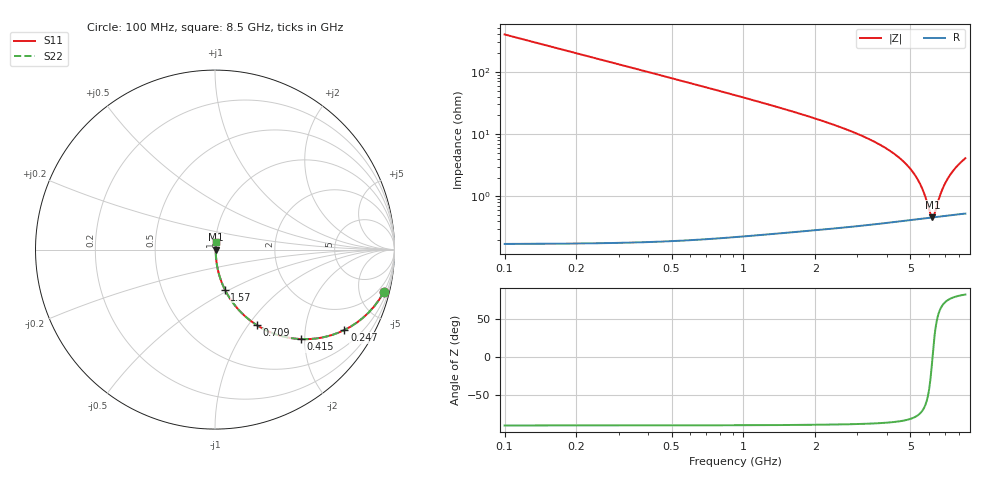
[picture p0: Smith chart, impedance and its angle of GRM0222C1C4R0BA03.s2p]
!Murata Part Number: GRM0222C1C4R0BA03
!These Parameters are Measured in Series Mode Connection
!Data Generated on Mar 30, 2021
!  o--ll--o
!Port1  Port2
!  o------o
!Operation Temp=25[degC], DC Bias Voltage=0[V]
!Freq. Start=100[MHz] Stop=9[GHz] 401[Steps]
# Hz S RI R 50
!Freq.(Hz) S11(Real) S11(Imag) S21(Real) S21(Imag) S12(Real) S12(Imag) S22(Real) S22(Imag)
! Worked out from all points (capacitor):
!   401 points, 100 MHz to 8.5 GHz, reference 50 ohm
!   read as one part in series: C = 4 pF near 142 MHz
!   lowest |Z| = 459 mohm at 6.19 GHz (marker M1)
!   series resonance near 6.19 GHz, so ESL is about 170 pH
!   S11 on the Smith chart (normalised r, x): 100 MHz: 1.00, -7.96; 247 MHz: 1.00, -3.22; 415 MHz: 1.00, -1.91; 709 MHz: 1.00, -1.11; 1.57 GHz: 1.01, -0.47; 8.5 GHz: 1.01, +0.08
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1e8  0.9405 -0.2364  0.0595 0.2364  0.0595 0.2364  0.9405 -0.2364
1.84e8  0.8233 -0.381  0.1767 0.381  0.1767 0.381  0.8233 -0.381
2.47e8  0.7209 -0.448  0.2791 0.448  0.2791 0.448  0.7209 -0.448
3.31e8  0.5893 -0.4912  0.4107 0.4912  0.4107 0.4912  0.5893 -0.4912
4.15e8  0.4765 -0.4985  0.5235 0.4985  0.5235 0.4985  0.4765 -0.4985
5.62e8  0.3303 -0.4689  0.6697 0.4689  0.6697 0.4689  0.3303 -0.4689
7.09e8  0.2351 -0.4222  0.7649 0.4222  0.7649 0.4222  0.2351 -0.4222
1.024e9  0.126 -0.3289  0.874 0.3289  0.874 0.3289  0.126 -0.3289
1.507e9  0.0599 -0.2321  0.9401 0.2321  0.9401 0.2321  0.0599 -0.2321
1.57e9  0.0551 -0.2227  0.9449 0.2227  0.9449 0.2227  0.0551 -0.2227
2.914e9  0.0142 -0.1037  0.9858 0.1037  0.9858 0.1037  0.0142 -0.1037
4.3e9  0.00606 -0.0469  0.9939 0.0469  0.9939 0.0469  0.00606 -0.0469
5.14e9  0.00474 -0.0235  0.9953 0.0235  0.9953 0.0235  0.00474 -0.0235
5.455e9  0.00456 -0.0159  0.9954 0.0159  0.9954 0.0159  0.00456 -0.0159
5.707e9  0.0045 -0.0102  0.9955 0.0102  0.9955 0.0102  0.0045 -0.0102
6.064e9  0.00453 -0.00258  0.9955 0.00258  0.9955 0.00258  0.00453 -0.00258
6.19e9  0.00457 -1e-06  0.9954 1e-06  0.9954 1e-06  0.00457 -1e-06
6.295e9  0.00461 0.0021  0.9954 -0.0021  0.9954 -0.0021  0.00461 0.0021
6.736e9  0.00486 0.0106  0.9951 -0.0106  0.9951 -0.0106  0.00486 0.0106
7.114e9  0.00517 0.0174  0.9948 -0.0174  0.9948 -0.0174  0.00517 0.0174
7.723e9  0.00582 0.0278  0.9942 -0.0278  0.9942 -0.0278  0.00582 0.0278
8.5e9  0.00686 0.0401  0.9931 -0.0401  0.9931 -0.0401  0.00686 0.0401
